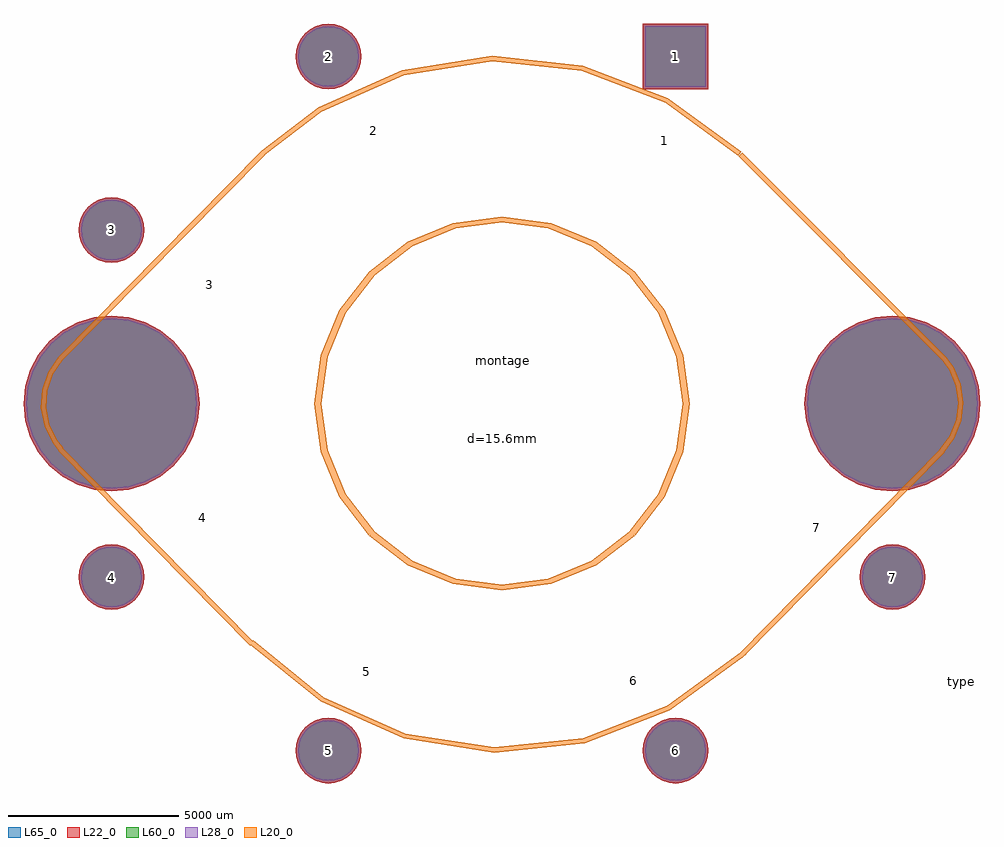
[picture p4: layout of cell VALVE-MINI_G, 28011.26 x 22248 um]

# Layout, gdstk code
import gdstk
lib = gdstk.Library(unit=1e-6, precision=1e-09)
def R(c, l, rs):  # rectangles x0, y0, x1, y1
    for r in rs: c.add(gdstk.rectangle(r[:2], r[2:], *l))
def P(c, l, *ps):  # polygons
    for p in ps: c.add(gdstk.Polygon(p, *l))
L20_0 = (20, 0)
L22_0 = (22, 0)
L28_0 = (28, 0)
L60_0 = (60, 0)
L65_0 = (65, 0)

valve_mini_g = lib.new_cell('VALVE-MINI_G')
R(valve_mini_g, L22_0, [(4116,9196,6044,11124)])
P(valve_mini_g, L22_0, [(14005.63,0),(13956.14,502.48),(13809.572,985.651),(13571.558,1430.943),(13251.245,1821.245),(12860.943,2141.558),(12415.651,2379.572),(11932.48,2526.14),(11430,2575.63),(10927.52,2526.14),(10444.349,2379.572),(9999.057,2141.558),(9608.755,1821.245),(9288.442,1430.943),(9050.428,985.651),(8903.86,502.48),(8854.37,0),(8903.86,-502.48),(9050.428,-985.651),(9288.442,-1430.943),(9608.755,-1821.245),(9999.057,-2141.558),(10444.349,-2379.572),(10927.52,-2526.14),(11430,-2575.63),(11932.48,-2526.14),(12415.651,-2379.572),(12860.943,-2141.558),(13251.245,-1821.245),(13571.558,-1430.943),(13809.572,-985.651),(13956.14,-502.48)],
  [(-8854.37,0),(-8903.86,502.48),(-9050.428,985.651),(-9288.442,1430.943),(-9608.755,1821.245),(-9999.057,2141.558),(-10444.349,2379.572),(-10927.52,2526.14),(-11430,2575.63),(-11932.48,2526.14),(-12415.651,2379.572),(-12860.943,2141.558),(-13251.245,1821.245),(-13571.558,1430.943),(-13809.572,985.651),(-13956.14,502.48),(-14005.63,0),(-13956.14,-502.48),(-13809.572,-985.651),(-13571.558,-1430.943),(-13251.245,-1821.245),(-12860.943,-2141.558),(-12415.651,-2379.572),(-11932.48,-2526.14),(-11430,-2575.63),(-10927.52,-2526.14),(-10444.349,-2379.572),(-9999.057,-2141.558),(-9608.755,-1821.245),(-9288.442,-1430.943),(-9050.428,-985.651),(-8903.86,-502.48)],
  [(12394,-5080),(12375.477,-4891.933),(12320.62,-4711.093),(12231.537,-4544.43),(12111.651,-4398.349),(11965.57,-4278.463),(11798.907,-4189.38),(11618.067,-4134.523),(11430,-4116),(11241.933,-4134.523),(11061.093,-4189.38),(10894.43,-4278.463),(10748.349,-4398.349),(10628.463,-4544.43),(10539.38,-4711.093),(10484.523,-4891.933),(10466,-5080),(10484.523,-5268.067),(10539.38,-5448.907),(10628.463,-5615.57),(10748.349,-5761.651),(10894.43,-5881.537),(11061.093,-5970.62),(11241.933,-6025.477),(11430,-6044),(11618.067,-6025.477),(11798.907,-5970.62),(11965.57,-5881.537),(12111.651,-5761.651),(12231.537,-5615.57),(12320.62,-5448.907),(12375.477,-5268.067)],
  [(6044,-10160),(6025.477,-9971.933),(5970.62,-9791.093),(5881.537,-9624.43),(5761.651,-9478.349),(5615.57,-9358.463),(5448.907,-9269.38),(5268.067,-9214.523),(5080,-9196),(4891.933,-9214.523),(4711.093,-9269.38),(4544.43,-9358.463),(4398.349,-9478.349),(4278.463,-9624.43),(4189.38,-9791.093),(4134.523,-9971.933),(4116,-10160),(4134.523,-10348.067),(4189.38,-10528.907),(4278.463,-10695.57),(4398.349,-10841.651),(4544.43,-10961.537),(4711.093,-11050.62),(4891.933,-11105.477),(5080,-11124),(5268.067,-11105.477),(5448.907,-11050.62),(5615.57,-10961.537),(5761.651,-10841.651),(5881.537,-10695.57),(5970.62,-10528.907),(6025.477,-10348.067)],
  [(-4116,-10160),(-4134.523,-9971.933),(-4189.38,-9791.093),(-4278.463,-9624.43),(-4398.349,-9478.349),(-4544.43,-9358.463),(-4711.093,-9269.38),(-4891.933,-9214.523),(-5080,-9196),(-5268.067,-9214.523),(-5448.907,-9269.38),(-5615.57,-9358.463),(-5761.651,-9478.349),(-5881.537,-9624.43),(-5970.62,-9791.093),(-6025.477,-9971.933),(-6044,-10160),(-6025.477,-10348.067),(-5970.62,-10528.907),(-5881.537,-10695.57),(-5761.651,-10841.651),(-5615.57,-10961.537),(-5448.907,-11050.62),(-5268.067,-11105.477),(-5080,-11124),(-4891.933,-11105.477),(-4711.093,-11050.62),(-4544.43,-10961.537),(-4398.349,-10841.651),(-4278.463,-10695.57),(-4189.38,-10528.907),(-4134.523,-10348.067)],
  [(-10466,-5080),(-10484.523,-4891.933),(-10539.38,-4711.093),(-10628.463,-4544.43),(-10748.349,-4398.349),(-10894.43,-4278.463),(-11061.093,-4189.38),(-11241.933,-4134.523),(-11430,-4116),(-11618.067,-4134.523),(-11798.907,-4189.38),(-11965.57,-4278.463),(-12111.651,-4398.349),(-12231.537,-4544.43),(-12320.62,-4711.093),(-12375.477,-4891.933),(-12394,-5080),(-12375.477,-5268.067),(-12320.62,-5448.907),(-12231.537,-5615.57),(-12111.651,-5761.651),(-11965.57,-5881.537),(-11798.907,-5970.62),(-11618.067,-6025.477),(-11430,-6044),(-11241.933,-6025.477),(-11061.093,-5970.62),(-10894.43,-5881.537),(-10748.349,-5761.651),(-10628.463,-5615.57),(-10539.38,-5448.907),(-10484.523,-5268.067)],
  [(-10466,5080),(-10484.523,5268.067),(-10539.38,5448.907),(-10628.463,5615.57),(-10748.349,5761.651),(-10894.43,5881.537),(-11061.093,5970.62),(-11241.933,6025.477),(-11430,6044),(-11618.067,6025.477),(-11798.907,5970.62),(-11965.57,5881.537),(-12111.651,5761.651),(-12231.537,5615.57),(-12320.62,5448.907),(-12375.477,5268.067),(-12394,5080),(-12375.477,4891.933),(-12320.62,4711.093),(-12231.537,4544.43),(-12111.651,4398.349),(-11965.57,4278.463),(-11798.907,4189.38),(-11618.067,4134.523),(-11430,4116),(-11241.933,4134.523),(-11061.093,4189.38),(-10894.43,4278.463),(-10748.349,4398.349),(-10628.463,4544.43),(-10539.38,4711.093),(-10484.523,4891.933)],
  [(-4116,10160),(-4134.523,10348.067),(-4189.38,10528.907),(-4278.463,10695.57),(-4398.349,10841.651),(-4544.43,10961.537),(-4711.093,11050.62),(-4891.933,11105.477),(-5080,11124),(-5268.067,11105.477),(-5448.907,11050.62),(-5615.57,10961.537),(-5761.651,10841.651),(-5881.537,10695.57),(-5970.62,10528.907),(-6025.477,10348.067),(-6044,10160),(-6025.477,9971.933),(-5970.62,9791.093),(-5881.537,9624.43),(-5761.651,9478.349),(-5615.57,9358.463),(-5448.907,9269.38),(-5268.067,9214.523),(-5080,9196),(-4891.933,9214.523),(-4711.093,9269.38),(-4544.43,9358.463),(-4398.349,9478.349),(-4278.463,9624.43),(-4189.38,9791.093),(-4134.523,9971.933)])
R(valve_mini_g, L28_0, [(4191,9271,5969,11049)])
P(valve_mini_g, L28_0, [(13930.63,0),(13882.581,487.849),(13740.281,956.95),(13509.198,1389.276),(13198.212,1768.212),(12819.276,2079.198),(12386.95,2310.281),(11917.849,2452.581),(11430,2500.63),(10942.151,2452.581),(10473.05,2310.281),(10040.724,2079.198),(9661.788,1768.212),(9350.802,1389.276),(9119.719,956.95),(8977.419,487.849),(8929.37,0),(8977.419,-487.849),(9119.719,-956.95),(9350.802,-1389.276),(9661.788,-1768.212),(10040.724,-2079.198),(10473.05,-2310.281),(10942.151,-2452.581),(11430,-2500.63),(11917.849,-2452.581),(12386.95,-2310.281),(12819.276,-2079.198),(13198.212,-1768.212),(13509.198,-1389.276),(13740.281,-956.95),(13882.581,-487.849)],
  [(-8929.37,0),(-8977.419,487.849),(-9119.719,956.95),(-9350.802,1389.276),(-9661.788,1768.212),(-10040.724,2079.198),(-10473.05,2310.281),(-10942.151,2452.581),(-11430,2500.63),(-11917.849,2452.581),(-12386.95,2310.281),(-12819.276,2079.198),(-13198.212,1768.212),(-13509.198,1389.276),(-13740.281,956.95),(-13882.581,487.849),(-13930.63,0),(-13882.581,-487.849),(-13740.281,-956.95),(-13509.198,-1389.276),(-13198.212,-1768.212),(-12819.276,-2079.198),(-12386.95,-2310.281),(-11917.849,-2452.581),(-11430,-2500.63),(-10942.151,-2452.581),(-10473.05,-2310.281),(-10040.724,-2079.198),(-9661.788,-1768.212),(-9350.802,-1389.276),(-9119.719,-956.95),(-8977.419,-487.849)],
  [(12319,-5080),(12301.918,-4906.565),(12251.329,-4739.794),(12169.176,-4586.098),(12058.618,-4451.382),(11923.902,-4340.824),(11770.206,-4258.671),(11603.435,-4208.082),(11430,-4191),(11256.565,-4208.082),(11089.794,-4258.671),(10936.098,-4340.824),(10801.382,-4451.382),(10690.824,-4586.098),(10608.671,-4739.794),(10558.082,-4906.565),(10541,-5080),(10558.082,-5253.435),(10608.671,-5420.206),(10690.824,-5573.902),(10801.382,-5708.618),(10936.098,-5819.176),(11089.794,-5901.329),(11256.565,-5951.918),(11430,-5969),(11603.435,-5951.918),(11770.206,-5901.329),(11923.902,-5819.176),(12058.618,-5708.618),(12169.176,-5573.902),(12251.329,-5420.206),(12301.918,-5253.435)],
  [(5969,-10160),(5951.918,-9986.565),(5901.329,-9819.794),(5819.176,-9666.098),(5708.618,-9531.382),(5573.902,-9420.824),(5420.206,-9338.671),(5253.435,-9288.082),(5080,-9271),(4906.565,-9288.082),(4739.794,-9338.671),(4586.098,-9420.824),(4451.382,-9531.382),(4340.824,-9666.098),(4258.671,-9819.794),(4208.082,-9986.565),(4191,-10160),(4208.082,-10333.435),(4258.671,-10500.206),(4340.824,-10653.902),(4451.382,-10788.618),(4586.098,-10899.176),(4739.794,-10981.329),(4906.565,-11031.918),(5080,-11049),(5253.435,-11031.918),(5420.206,-10981.329),(5573.902,-10899.176),(5708.618,-10788.618),(5819.176,-10653.902),(5901.329,-10500.206),(5951.918,-10333.435)],
  [(-4191,-10160),(-4208.082,-9986.565),(-4258.671,-9819.794),(-4340.824,-9666.098),(-4451.382,-9531.382),(-4586.098,-9420.824),(-4739.794,-9338.671),(-4906.565,-9288.082),(-5080,-9271),(-5253.435,-9288.082),(-5420.206,-9338.671),(-5573.902,-9420.824),(-5708.618,-9531.382),(-5819.176,-9666.098),(-5901.329,-9819.794),(-5951.918,-9986.565),(-5969,-10160),(-5951.918,-10333.435),(-5901.329,-10500.206),(-5819.176,-10653.902),(-5708.618,-10788.618),(-5573.902,-10899.176),(-5420.206,-10981.329),(-5253.435,-11031.918),(-5080,-11049),(-4906.565,-11031.918),(-4739.794,-10981.329),(-4586.098,-10899.176),(-4451.382,-10788.618),(-4340.824,-10653.902),(-4258.671,-10500.206),(-4208.082,-10333.435)],
  [(-10541,-5080),(-10558.082,-4906.565),(-10608.671,-4739.794),(-10690.824,-4586.098),(-10801.382,-4451.382),(-10936.098,-4340.824),(-11089.794,-4258.671),(-11256.565,-4208.082),(-11430,-4191),(-11603.435,-4208.082),(-11770.206,-4258.671),(-11923.902,-4340.824),(-12058.618,-4451.382),(-12169.176,-4586.098),(-12251.329,-4739.794),(-12301.918,-4906.565),(-12319,-5080),(-12301.918,-5253.435),(-12251.329,-5420.206),(-12169.176,-5573.902),(-12058.618,-5708.618),(-11923.902,-5819.176),(-11770.206,-5901.329),(-11603.435,-5951.918),(-11430,-5969),(-11256.565,-5951.918),(-11089.794,-5901.329),(-10936.098,-5819.176),(-10801.382,-5708.618),(-10690.824,-5573.902),(-10608.671,-5420.206),(-10558.082,-5253.435)],
  [(-10541,5080),(-10558.082,5253.435),(-10608.671,5420.206),(-10690.824,5573.902),(-10801.382,5708.618),(-10936.098,5819.176),(-11089.794,5901.329),(-11256.565,5951.918),(-11430,5969),(-11603.435,5951.918),(-11770.206,5901.329),(-11923.902,5819.176),(-12058.618,5708.618),(-12169.176,5573.902),(-12251.329,5420.206),(-12301.918,5253.435),(-12319,5080),(-12301.918,4906.565),(-12251.329,4739.794),(-12169.176,4586.098),(-12058.618,4451.382),(-11923.902,4340.824),(-11770.206,4258.671),(-11603.435,4208.082),(-11430,4191),(-11256.565,4208.082),(-11089.794,4258.671),(-10936.098,4340.824),(-10801.382,4451.382),(-10690.824,4586.098),(-10608.671,4739.794),(-10558.082,4906.565)],
  [(-4191,10160),(-4208.082,10333.435),(-4258.671,10500.206),(-4340.824,10653.902),(-4451.382,10788.618),(-4586.098,10899.176),(-4739.794,10981.329),(-4906.565,11031.918),(-5080,11049),(-5253.435,11031.918),(-5420.206,10981.329),(-5573.902,10899.176),(-5708.618,10788.618),(-5819.176,10653.902),(-5901.329,10500.206),(-5951.918,10333.435),(-5969,10160),(-5951.918,9986.565),(-5901.329,9819.794),(-5819.176,9666.098),(-5708.618,9531.382),(-5573.902,9420.824),(-5420.206,9338.671),(-5253.435,9288.082),(-5080,9271),(-4906.565,9288.082),(-4739.794,9338.671),(-4586.098,9420.824),(-4451.382,9531.382),(-4340.824,9666.098),(-4258.671,9819.794),(-4208.082,9986.565)])
R(valve_mini_g, L60_0, [(4191,9271,5969,11049)])
P(valve_mini_g, L60_0, [(13930.63,0),(13882.581,487.849),(13740.281,956.95),(13509.198,1389.276),(13198.212,1768.212),(12819.276,2079.198),(12386.95,2310.281),(11917.849,2452.581),(11430,2500.63),(10942.151,2452.581),(10473.05,2310.281),(10040.724,2079.198),(9661.788,1768.212),(9350.802,1389.276),(9119.719,956.95),(8977.419,487.849),(8929.37,0),(8977.419,-487.849),(9119.719,-956.95),(9350.802,-1389.276),(9661.788,-1768.212),(10040.724,-2079.198),(10473.05,-2310.281),(10942.151,-2452.581),(11430,-2500.63),(11917.849,-2452.581),(12386.95,-2310.281),(12819.276,-2079.198),(13198.212,-1768.212),(13509.198,-1389.276),(13740.281,-956.95),(13882.581,-487.849)],
  [(-8929.37,0),(-8977.419,487.849),(-9119.719,956.95),(-9350.802,1389.276),(-9661.788,1768.212),(-10040.724,2079.198),(-10473.05,2310.281),(-10942.151,2452.581),(-11430,2500.63),(-11917.849,2452.581),(-12386.95,2310.281),(-12819.276,2079.198),(-13198.212,1768.212),(-13509.198,1389.276),(-13740.281,956.95),(-13882.581,487.849),(-13930.63,0),(-13882.581,-487.849),(-13740.281,-956.95),(-13509.198,-1389.276),(-13198.212,-1768.212),(-12819.276,-2079.198),(-12386.95,-2310.281),(-11917.849,-2452.581),(-11430,-2500.63),(-10942.151,-2452.581),(-10473.05,-2310.281),(-10040.724,-2079.198),(-9661.788,-1768.212),(-9350.802,-1389.276),(-9119.719,-956.95),(-8977.419,-487.849)],
  [(12319,-5080),(12301.918,-4906.565),(12251.329,-4739.794),(12169.176,-4586.098),(12058.618,-4451.382),(11923.902,-4340.824),(11770.206,-4258.671),(11603.435,-4208.082),(11430,-4191),(11256.565,-4208.082),(11089.794,-4258.671),(10936.098,-4340.824),(10801.382,-4451.382),(10690.824,-4586.098),(10608.671,-4739.794),(10558.082,-4906.565),(10541,-5080),(10558.082,-5253.435),(10608.671,-5420.206),(10690.824,-5573.902),(10801.382,-5708.618),(10936.098,-5819.176),(11089.794,-5901.329),(11256.565,-5951.918),(11430,-5969),(11603.435,-5951.918),(11770.206,-5901.329),(11923.902,-5819.176),(12058.618,-5708.618),(12169.176,-5573.902),(12251.329,-5420.206),(12301.918,-5253.435)],
  [(5969,-10160),(5951.918,-9986.565),(5901.329,-9819.794),(5819.176,-9666.098),(5708.618,-9531.382),(5573.902,-9420.824),(5420.206,-9338.671),(5253.435,-9288.082),(5080,-9271),(4906.565,-9288.082),(4739.794,-9338.671),(4586.098,-9420.824),(4451.382,-9531.382),(4340.824,-9666.098),(4258.671,-9819.794),(4208.082,-9986.565),(4191,-10160),(4208.082,-10333.435),(4258.671,-10500.206),(4340.824,-10653.902),(4451.382,-10788.618),(4586.098,-10899.176),(4739.794,-10981.329),(4906.565,-11031.918),(5080,-11049),(5253.435,-11031.918),(5420.206,-10981.329),(5573.902,-10899.176),(5708.618,-10788.618),(5819.176,-10653.902),(5901.329,-10500.206),(5951.918,-10333.435)],
  [(-4191,-10160),(-4208.082,-9986.565),(-4258.671,-9819.794),(-4340.824,-9666.098),(-4451.382,-9531.382),(-4586.098,-9420.824),(-4739.794,-9338.671),(-4906.565,-9288.082),(-5080,-9271),(-5253.435,-9288.082),(-5420.206,-9338.671),(-5573.902,-9420.824),(-5708.618,-9531.382),(-5819.176,-9666.098),(-5901.329,-9819.794),(-5951.918,-9986.565),(-5969,-10160),(-5951.918,-10333.435),(-5901.329,-10500.206),(-5819.176,-10653.902),(-5708.618,-10788.618),(-5573.902,-10899.176),(-5420.206,-10981.329),(-5253.435,-11031.918),(-5080,-11049),(-4906.565,-11031.918),(-4739.794,-10981.329),(-4586.098,-10899.176),(-4451.382,-10788.618),(-4340.824,-10653.902),(-4258.671,-10500.206),(-4208.082,-10333.435)],
  [(-10541,-5080),(-10558.082,-4906.565),(-10608.671,-4739.794),(-10690.824,-4586.098),(-10801.382,-4451.382),(-10936.098,-4340.824),(-11089.794,-4258.671),(-11256.565,-4208.082),(-11430,-4191),(-11603.435,-4208.082),(-11770.206,-4258.671),(-11923.902,-4340.824),(-12058.618,-4451.382),(-12169.176,-4586.098),(-12251.329,-4739.794),(-12301.918,-4906.565),(-12319,-5080),(-12301.918,-5253.435),(-12251.329,-5420.206),(-12169.176,-5573.902),(-12058.618,-5708.618),(-11923.902,-5819.176),(-11770.206,-5901.329),(-11603.435,-5951.918),(-11430,-5969),(-11256.565,-5951.918),(-11089.794,-5901.329),(-10936.098,-5819.176),(-10801.382,-5708.618),(-10690.824,-5573.902),(-10608.671,-5420.206),(-10558.082,-5253.435)],
  [(-10541,5080),(-10558.082,5253.435),(-10608.671,5420.206),(-10690.824,5573.902),(-10801.382,5708.618),(-10936.098,5819.176),(-11089.794,5901.329),(-11256.565,5951.918),(-11430,5969),(-11603.435,5951.918),(-11770.206,5901.329),(-11923.902,5819.176),(-12058.618,5708.618),(-12169.176,5573.902),(-12251.329,5420.206),(-12301.918,5253.435),(-12319,5080),(-12301.918,4906.565),(-12251.329,4739.794),(-12169.176,4586.098),(-12058.618,4451.382),(-11923.902,4340.824),(-11770.206,4258.671),(-11603.435,4208.082),(-11430,4191),(-11256.565,4208.082),(-11089.794,4258.671),(-10936.098,4340.824),(-10801.382,4451.382),(-10690.824,4586.098),(-10608.671,4739.794),(-10558.082,4906.565)],
  [(-4191,10160),(-4208.082,10333.435),(-4258.671,10500.206),(-4340.824,10653.902),(-4451.382,10788.618),(-4586.098,10899.176),(-4739.794,10981.329),(-4906.565,11031.918),(-5080,11049),(-5253.435,11031.918),(-5420.206,10981.329),(-5573.902,10899.176),(-5708.618,10788.618),(-5819.176,10653.902),(-5901.329,10500.206),(-5951.918,10333.435),(-5969,10160),(-5951.918,9986.565),(-5901.329,9819.794),(-5819.176,9666.098),(-5708.618,9531.382),(-5573.902,9420.824),(-5420.206,9338.671),(-5253.435,9288.082),(-5080,9271),(-4906.565,9288.082),(-4739.794,9338.671),(-4586.098,9420.824),(-4451.382,9531.382),(-4340.824,9666.098),(-4258.671,9819.794),(-4208.082,9986.565)])
R(valve_mini_g, L65_0, [(4116,9196,6044,11124)])
P(valve_mini_g, L65_0, [(14005.63,0),(13956.14,502.48),(13809.572,985.651),(13571.558,1430.943),(13251.245,1821.245),(12860.943,2141.558),(12415.651,2379.572),(11932.48,2526.14),(11430,2575.63),(10927.52,2526.14),(10444.349,2379.572),(9999.057,2141.558),(9608.755,1821.245),(9288.442,1430.943),(9050.428,985.651),(8903.86,502.48),(8854.37,0),(8903.86,-502.48),(9050.428,-985.651),(9288.442,-1430.943),(9608.755,-1821.245),(9999.057,-2141.558),(10444.349,-2379.572),(10927.52,-2526.14),(11430,-2575.63),(11932.48,-2526.14),(12415.651,-2379.572),(12860.943,-2141.558),(13251.245,-1821.245),(13571.558,-1430.943),(13809.572,-985.651),(13956.14,-502.48)],
  [(-8854.37,0),(-8903.86,502.48),(-9050.428,985.651),(-9288.442,1430.943),(-9608.755,1821.245),(-9999.057,2141.558),(-10444.349,2379.572),(-10927.52,2526.14),(-11430,2575.63),(-11932.48,2526.14),(-12415.651,2379.572),(-12860.943,2141.558),(-13251.245,1821.245),(-13571.558,1430.943),(-13809.572,985.651),(-13956.14,502.48),(-14005.63,0),(-13956.14,-502.48),(-13809.572,-985.651),(-13571.558,-1430.943),(-13251.245,-1821.245),(-12860.943,-2141.558),(-12415.651,-2379.572),(-11932.48,-2526.14),(-11430,-2575.63),(-10927.52,-2526.14),(-10444.349,-2379.572),(-9999.057,-2141.558),(-9608.755,-1821.245),(-9288.442,-1430.943),(-9050.428,-985.651),(-8903.86,-502.48)],
  [(12394,-5080),(12375.477,-4891.933),(12320.62,-4711.093),(12231.537,-4544.43),(12111.651,-4398.349),(11965.57,-4278.463),(11798.907,-4189.38),(11618.067,-4134.523),(11430,-4116),(11241.933,-4134.523),(11061.093,-4189.38),(10894.43,-4278.463),(10748.349,-4398.349),(10628.463,-4544.43),(10539.38,-4711.093),(10484.523,-4891.933),(10466,-5080),(10484.523,-5268.067),(10539.38,-5448.907),(10628.463,-5615.57),(10748.349,-5761.651),(10894.43,-5881.537),(11061.093,-5970.62),(11241.933,-6025.477),(11430,-6044),(11618.067,-6025.477),(11798.907,-5970.62),(11965.57,-5881.537),(12111.651,-5761.651),(12231.537,-5615.57),(12320.62,-5448.907),(12375.477,-5268.067)],
  [(6044,-10160),(6025.477,-9971.933),(5970.62,-9791.093),(5881.537,-9624.43),(5761.651,-9478.349),(5615.57,-9358.463),(5448.907,-9269.38),(5268.067,-9214.523),(5080,-9196),(4891.933,-9214.523),(4711.093,-9269.38),(4544.43,-9358.463),(4398.349,-9478.349),(4278.463,-9624.43),(4189.38,-9791.093),(4134.523,-9971.933),(4116,-10160),(4134.523,-10348.067),(4189.38,-10528.907),(4278.463,-10695.57),(4398.349,-10841.651),(4544.43,-10961.537),(4711.093,-11050.62),(4891.933,-11105.477),(5080,-11124),(5268.067,-11105.477),(5448.907,-11050.62),(5615.57,-10961.537),(5761.651,-10841.651),(5881.537,-10695.57),(5970.62,-10528.907),(6025.477,-10348.067)],
  [(-4116,-10160),(-4134.523,-9971.933),(-4189.38,-9791.093),(-4278.463,-9624.43),(-4398.349,-9478.349),(-4544.43,-9358.463),(-4711.093,-9269.38),(-4891.933,-9214.523),(-5080,-9196),(-5268.067,-9214.523),(-5448.907,-9269.38),(-5615.57,-9358.463),(-5761.651,-9478.349),(-5881.537,-9624.43),(-5970.62,-9791.093),(-6025.477,-9971.933),(-6044,-10160),(-6025.477,-10348.067),(-5970.62,-10528.907),(-5881.537,-10695.57),(-5761.651,-10841.651),(-5615.57,-10961.537),(-5448.907,-11050.62),(-5268.067,-11105.477),(-5080,-11124),(-4891.933,-11105.477),(-4711.093,-11050.62),(-4544.43,-10961.537),(-4398.349,-10841.651),(-4278.463,-10695.57),(-4189.38,-10528.907),(-4134.523,-10348.067)],
  [(-10466,-5080),(-10484.523,-4891.933),(-10539.38,-4711.093),(-10628.463,-4544.43),(-10748.349,-4398.349),(-10894.43,-4278.463),(-11061.093,-4189.38),(-11241.933,-4134.523),(-11430,-4116),(-11618.067,-4134.523),(-11798.907,-4189.38),(-11965.57,-4278.463),(-12111.651,-4398.349),(-12231.537,-4544.43),(-12320.62,-4711.093),(-12375.477,-4891.933),(-12394,-5080),(-12375.477,-5268.067),(-12320.62,-5448.907),(-12231.537,-5615.57),(-12111.651,-5761.651),(-11965.57,-5881.537),(-11798.907,-5970.62),(-11618.067,-6025.477),(-11430,-6044),(-11241.933,-6025.477),(-11061.093,-5970.62),(-10894.43,-5881.537),(-10748.349,-5761.651),(-10628.463,-5615.57),(-10539.38,-5448.907),(-10484.523,-5268.067)],
  [(-10466,5080),(-10484.523,5268.067),(-10539.38,5448.907),(-10628.463,5615.57),(-10748.349,5761.651),(-10894.43,5881.537),(-11061.093,5970.62),(-11241.933,6025.477),(-11430,6044),(-11618.067,6025.477),(-11798.907,5970.62),(-11965.57,5881.537),(-12111.651,5761.651),(-12231.537,5615.57),(-12320.62,5448.907),(-12375.477,5268.067),(-12394,5080),(-12375.477,4891.933),(-12320.62,4711.093),(-12231.537,4544.43),(-12111.651,4398.349),(-11965.57,4278.463),(-11798.907,4189.38),(-11618.067,4134.523),(-11430,4116),(-11241.933,4134.523),(-11061.093,4189.38),(-10894.43,4278.463),(-10748.349,4398.349),(-10628.463,4544.43),(-10539.38,4711.093),(-10484.523,4891.933)],
  [(-4116,10160),(-4134.523,10348.067),(-4189.38,10528.907),(-4278.463,10695.57),(-4398.349,10841.651),(-4544.43,10961.537),(-4711.093,11050.62),(-4891.933,11105.477),(-5080,11124),(-5268.067,11105.477),(-5448.907,11050.62),(-5615.57,10961.537),(-5761.651,10841.651),(-5881.537,10695.57),(-5970.62,10528.907),(-6025.477,10348.067),(-6044,10160),(-6025.477,9971.933),(-5970.62,9791.093),(-5881.537,9624.43),(-5761.651,9478.349),(-5615.57,9358.463),(-5448.907,9269.38),(-5268.067,9214.523),(-5080,9196),(-4891.933,9214.523),(-4711.093,9269.38),(-4544.43,9358.463),(-4398.349,9478.349),(-4278.463,9624.43),(-4189.38,9791.093),(-4134.523,9971.933)])
valve_mini_g.add(gdstk.FlexPath([(-12927.381,1319.01),(-13217.744,886.515),(-13386.275,393.606),(-13421.49,-126.127),(-13320.987,-637.265),(-13091.617,-1104.974),(-12900.66,-1348.74)], 149.998, ends="flush", simple_path=True, layer=20, datatype=0))  # L20_0
valve_mini_g.add(gdstk.FlexPath([(12864.795,-1398.178),(13177.781,-979.184),(13371.658,-493.46),(13433.215,25.892),(13358.256,543.48),(13151.889,1024.031),(12979.4,1270)], 149.998, ends="flush", simple_path=True, layer=20, datatype=0))  # L20_0
valve_mini_g.add(gdstk.FlexPath([(6965.979,7310.547),(4822.497,8869.217),(2348.638,9820.003),(-287.007,10098.11),(-2904.824,9684.586),(-5326.414,8607.611),(-6985,7340.6)], 149.998, ends="flush", simple_path=True, layer=20, datatype=0))  # L20_0
valve_mini_g.add(gdstk.FlexPath([(-7330.403,-6992.174),(-5270.052,-8657.744),(-2848.825,-9733.302),(-231.725,-10145.552),(2402.899,-9866.4),(4875.5,-8914.869),(7017.575,-7355.804),(7094.22,-7282.18)], 149.998, ends="flush", simple_path=True, layer=20, datatype=0))  # L20_0
valve_mini_g.add(gdstk.FlexPath([(3835.4,-3810),(4691.678,-2694.077),(5229.957,-1394.557),(5413.554,0),(5229.957,1394.557),(4691.678,2694.077),(3835.4,3810),(2719.477,4666.278),(1419.957,5204.557),(25.4,5388.154),(-1369.157,5204.557),(-2668.677,4666.278),(-3784.6,3810),(-4640.878,2694.077),(-5179.157,1394.557),(-5362.754,0),(-5179.157,-1394.557),(-4640.878,-2694.077),(-3784.6,-3810),(-2668.677,-4666.278),(-1369.157,-5204.557),(25.4,-5388.154),(1419.957,-5204.557),(2719.477,-4666.278),(3835.4,-3810)], 149.998, ends="flush", simple_path=True, layer=20, datatype=0))  # L20_0
valve_mini_g.add(gdstk.FlexPath([(3835.4,-3810),(4691.678,-2694.077),(5229.957,-1394.557),(5413.554,0),(5229.957,1394.557),(4691.678,2694.077),(3835.4,3810),(2719.477,4666.278),(1419.957,5204.557),(25.4,5388.154),(-1369.157,5204.557),(-2668.677,4666.278),(-3784.6,3810),(-4640.878,2694.077),(-5179.157,1394.557),(-5362.754,0),(-5179.157,-1394.557),(-4640.878,-2694.077),(-3784.6,-3810),(-2668.677,-4666.278),(-1369.157,-5204.557),(25.4,-5388.154),(1419.957,-5204.557),(2719.477,-4666.278),(3835.4,-3810)], 149.998, ends="flush", simple_path=True, layer=20, datatype=0))  # L20_0
valve_mini_g.add(gdstk.FlexPath([(3835.4,-3810),(4691.678,-2694.077),(5229.957,-1394.557),(5413.554,0),(5229.957,1394.557),(4691.678,2694.077),(3835.4,3810),(2719.477,4666.278),(1419.957,5204.557),(25.4,5388.154),(-1369.157,5204.557),(-2668.677,4666.278),(-3784.6,3810),(-4640.878,2694.077),(-5179.157,1394.557),(-5362.754,0),(-5179.157,-1394.557),(-4640.878,-2694.077),(-3784.6,-3810),(-2668.677,-4666.278),(-1369.157,-5204.557),(25.4,-5388.154),(1419.957,-5204.557),(2719.477,-4666.278),(3835.4,-3810)], 149.998, ends="flush", simple_path=True, layer=20, datatype=0))  # L20_0
valve_mini_g.add(gdstk.FlexPath([(-3835.4,-3810),(-2719.477,-4666.278),(-1419.957,-5204.557),(-25.4,-5388.154),(1369.157,-5204.557),(2668.677,-4666.278),(3784.6,-3810),(4640.878,-2694.077),(5179.157,-1394.557),(5362.754,0),(5179.157,1394.557),(4640.878,2694.077),(3784.6,3810),(2668.677,4666.278),(1369.157,5204.557),(-25.4,5388.154),(-1419.957,5204.557),(-2719.477,4666.278),(-3835.4,3810),(-4691.678,2694.077),(-5229.957,1394.557),(-5413.554,0),(-5229.957,-1394.557),(-4691.678,-2694.077),(-3835.4,-3810)], 149.998, ends="flush", simple_path=True, layer=20, datatype=0))  # L20_0
valve_mini_g.add(gdstk.FlexPath([(6985,7289.8),(12979.4,1270)], 149.998, ends="flush", simple_path=True, layer=20, datatype=0))  # L20_0
valve_mini_g.add(gdstk.FlexPath([(-12928.6,1320.8),(-6985,7340.6)], 149.998, ends="flush", simple_path=True, layer=20, datatype=0))  # L20_0
valve_mini_g.add(gdstk.FlexPath([(6985,7289.8),(12979.4,1270)], 149.998, ends="flush", simple_path=True, layer=20, datatype=0))  # L20_0
valve_mini_g.add(gdstk.FlexPath([(-12928.6,-1346.2),(-7315.2,-7035.8)], 149.998, ends="flush", simple_path=True, layer=20, datatype=0))  # L20_0
valve_mini_g.add(gdstk.FlexPath([(12903.2,-1371.6),(6985,-7391.4)], 149.998, ends="flush", simple_path=True, layer=20, datatype=0))  # L20_0
valve_mini_g.add(gdstk.FlexPath([(-12928.6,1320.8),(-6985,7340.6)], 149.998, ends="flush", simple_path=True, layer=20, datatype=0))  # L20_0
valve_mini_g.add(gdstk.FlexPath([(6985,7289.8),(12979.4,1270)], 149.998, ends="flush", simple_path=True, layer=20, datatype=0))  # L20_0
valve_mini_g.add(gdstk.Label('7', (11430,-5080), layer=28, texttype=0))
valve_mini_g.add(gdstk.Label('6', (5080,-10160), layer=28, texttype=0))
valve_mini_g.add(gdstk.Label('5', (-5080,-10160), layer=28, texttype=0))
valve_mini_g.add(gdstk.Label('4', (-11430,-5080), layer=28, texttype=0))
valve_mini_g.add(gdstk.Label('3', (-11430,5080), layer=28, texttype=0))
valve_mini_g.add(gdstk.Label('2', (-5080,10160), layer=28, texttype=0))
valve_mini_g.add(gdstk.Label('1', (5080,10160), layer=28, texttype=0))
valve_mini_g.add(gdstk.Label('d=15.6mm', (0,-1016), layer=9, texttype=0))
valve_mini_g.add(gdstk.Label('montage', (0,1270), layer=9, texttype=0))
valve_mini_g.add(gdstk.Label('3', (-8559.8,3479.8), layer=9, texttype=0))
valve_mini_g.add(gdstk.Label('7', (9194.8,-3629.66), layer=9, texttype=0))
valve_mini_g.add(gdstk.Label('6', (3860.8,-8102.6), layer=9, texttype=0))
valve_mini_g.add(gdstk.Label('5', (-3962.4,-7848.6), layer=9, texttype=0))
valve_mini_g.add(gdstk.Label('4', (-8760.46,-3327.4), layer=9, texttype=0))
valve_mini_g.add(gdstk.Label('2', (-3759.2,8001), layer=9, texttype=0))
valve_mini_g.add(gdstk.Label('1', (4749.8,7696.2), layer=9, texttype=0))
valve_mini_g.add(gdstk.Label('type', (13462,-8128), layer=9, texttype=0))
valve_mini_g.add(gdstk.Label('devicename', (19304,6858), layer=9, texttype=0))

lib.write_gds('VALVE-MINI_G.gds')
